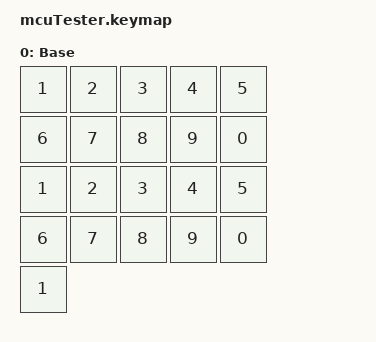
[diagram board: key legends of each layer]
#include <behaviors.dtsi>
#include <dt-bindings/zmk/keys.h>
#include <dt-bindings/zmk/behaviors.h>

/ {  
    keymap {
        compatible = "zmk,keymap";
        
        default_layer {
            display-name = "Base";
            bindings = <
                &kp N1    &kp N2    &kp N3    &kp N4    &kp N5  
                &kp N6    &kp N7    &kp N8    &kp N9    &kp N0  
                &kp N1    &kp N2    &kp N3    &kp N4    &kp N5  
                &kp N6    &kp N7    &kp N8    &kp N9    &kp N0  
                &kp N1
            >;
        };
    };
 };
